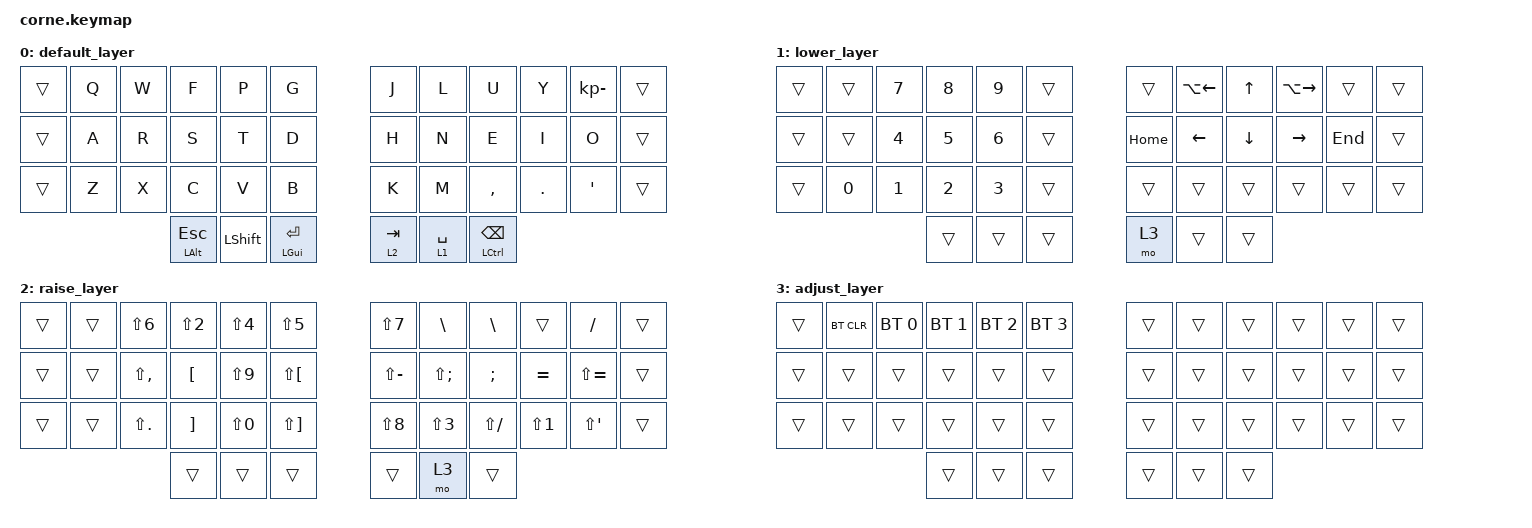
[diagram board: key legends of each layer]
// This file is automatically generated from keymap.md
#include <behaviors.dtsi>
#include <dt-bindings/zmk/keys.h>
#include <dt-bindings/zmk/bt.h>

/ {
    behaviors {
        // Customized mod_tap and layer_tap:
        // - Enables quick_tap. Useful for backspace/space.
        // - Switch to balanced flavor to allow for fast (back)space + character rollovers.
        mt_: custom_mod_tap {
            compatible = "zmk,behavior-hold-tap";
            label = "MOD_TAP";
            #binding-cells = <2>;
            flavor = "balanced";
            tapping-term-ms = <200>;
                        quick_tap_ms = <500>;
            bindings = <&kp>, <&kp>;
        };
        lt_: custom_layer_tap {
            compatible = "zmk,behavior-hold-tap";
            label = "LAYER_TAP";
            #binding-cells = <2>;
            flavor = "balanced";
            tapping-term-ms = <200>;
                        quick_tap_ms = <500>;
            bindings = <&mo>, <&kp>;
        };

    };

        keymap {
                compatible = "zmk,keymap";

                default_layer {
                        bindings = <
&trans &kp Q &kp W &kp F &kp P &kp G &kp J &kp L &kp U &kp Y &kp KP_MINUS &trans
&trans &kp A &kp R &kp S &kp T &kp D &kp H &kp N &kp E &kp I &kp O &trans
&trans &kp Z &kp X &kp C &kp V &kp B &kp K &kp M &kp COMMA &kp DOT &kp SQT &trans
&mt_ LALT ESC &kp LSHFT &mt_ LGUI RET &lt_ 2 TAB &lt_ 1 SPC &mt_ LCTRL BKSP                  
                        >;
                };

                lower_layer {
                        bindings = <
&trans &trans &kp N7 &kp N8 &kp N9 &trans &trans &kp LA(LEFT) &kp UP &kp LA(RIGHT) &trans &trans
&trans &trans &kp N4 &kp N5 &kp N6 &trans &kp HOME &kp LEFT &kp DOWN &kp RIGHT &kp END &trans
&trans &kp N0 &kp N1 &kp N2 &kp N3 &trans &trans &trans &trans &trans &trans &trans
&trans &trans &trans &mo 3 &trans &trans
                        >;
                };

                raise_layer {
                        bindings = <
&trans &trans &kp LS(N6) &kp LS(N2) &kp LS(N4) &kp LS(N5) &kp LS(N7) &kp BSLH &kp BSLH &trans &kp FSLH &trans
&trans &trans &kp LS(COMMA) &kp LBKT &kp LS(N9) &kp LS(LBKT) &kp LS(MINUS) &kp LS(SEMI) &kp SEMI &kp EQUAL &kp LS(EQUAL) &trans
&trans &trans &kp LS(DOT) &kp RBKT &kp LS(N0) &kp LS(RBKT) &kp LS(N8) &kp LS(N3) &kp LS(FSLH) &kp LS(N1) &kp LS(SQT) &trans
&trans &trans &trans &trans &mo 3 &trans
                        >;
                };
                
                adjust_layer {
                      bindings = <
&trans &bt BT_CLR &bt BT_SEL 0 &bt BT_SEL 1 &bt BT_SEL 2 &bt BT_SEL 3 &trans &trans &trans &trans &trans &trans
&trans &trans &trans &trans &trans &trans &trans &trans &trans &trans &trans &trans
&trans &trans &trans &trans &trans &trans &trans &trans &trans &trans &trans &trans
&trans &trans &trans &trans &trans &trans
                     >;
              };
        };
};
